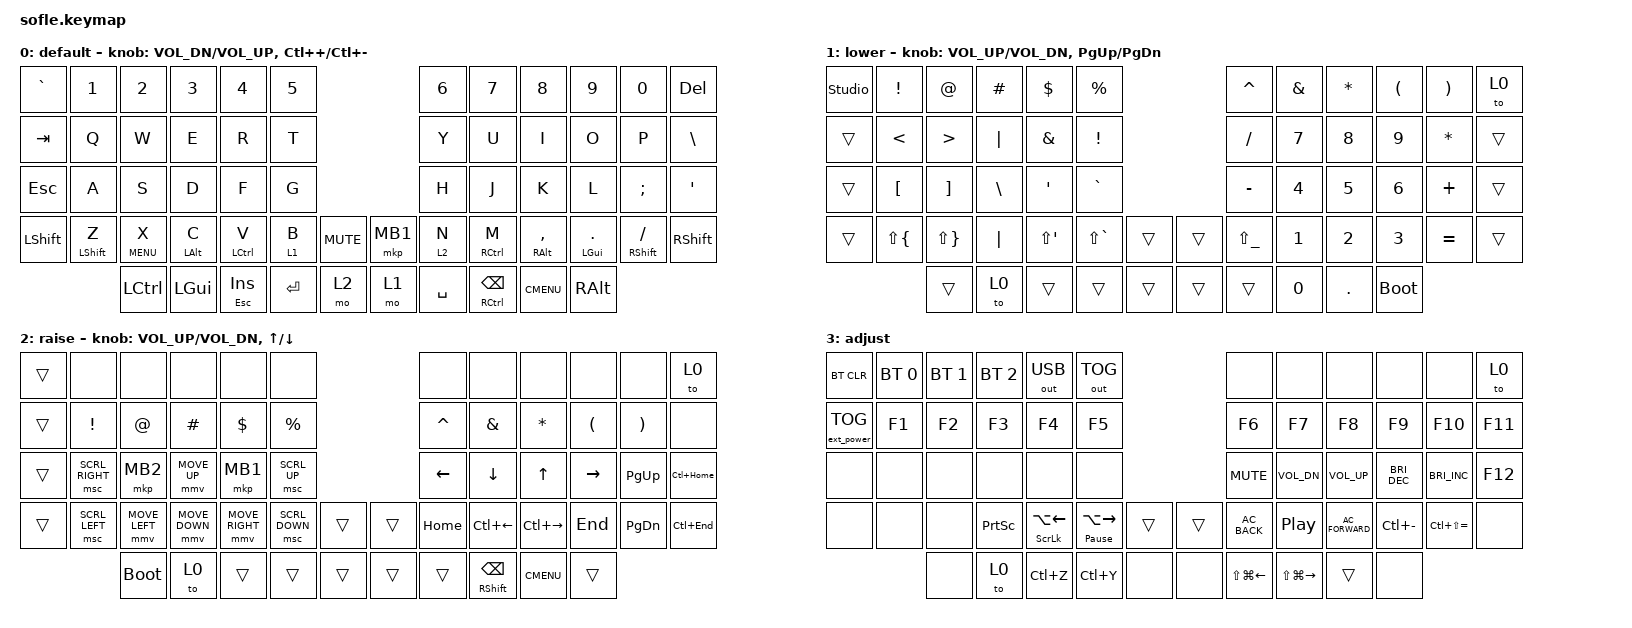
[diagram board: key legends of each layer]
/*
 * Copyright (c) 2020 The ZMK Contributors
 *
 * SPDX-License-Identifier: MIT
 */

#include <behaviors.dtsi>
#include <dt-bindings/zmk/bt.h>
#include <dt-bindings/zmk/ext_power.h>
#include <dt-bindings/zmk/keys.h>
#include <dt-bindings/zmk/outputs.h>
#include <dt-bindings/zmk/pointing.h>

#define BASE 0
#define LOWER 1
#define RAISE 2
#define ADJUST 3

/ {
    behaviors {
        ht: mod_tap {
            compatible = "zmk,behavior-hold-tap";
            #binding-cells = <2>;
            flavor = "balanced";
            tapping-term-ms = <280>;
            bindings = <&kp>, <&kp>;

            display-name = "home-row-mods";
        };
    };
};

/ {
    // Activate ADJUST layer by pressing raise and lower

    conditional_layers {
        compatible = "zmk,conditional-layers";

        adjust_layer {
            if-layers = <LOWER RAISE>;
            then-layer = <ADJUST>;
        };
    };

    combos {
        compatible = "zmk,combos";

        capslock {
            bindings = <&kp CAPSLOCK>;
            key-positions = <36 49>;
        };

        leftparens {
            bindings = <&kp LEFT_PARENTHESIS>;
            key-positions = <15 16>;
        };

        rightparens {
            bindings = <&kp RIGHT_PARENTHESIS>;
            key-positions = <20 19>;
        };

        lessthan {
            bindings = <&kp LT>;
            key-positions = <3 4>;
        };

        greaterthan {
            bindings = <&kp GREATER_THAN>;
            key-positions = <7 8>;
        };

        leftbracket {
            bindings = <&kp LEFT_BRACKET>;
            key-positions = <28 27>;
        };

        rightbracket {
            bindings = <&kp RIGHT_BRACKET>;
            key-positions = <31 32>;
        };

        leftbrace {
            bindings = <&kp LEFT_BRACE>;
            key-positions = <39 40>;
        };

        rightbrace {
            bindings = <&kp RIGHT_BRACE>;
            key-positions = <45 46>;
        };

        rassign {
            bindings = <&rassign>;
            key-positions = <29 30>;
        };

        rpipe {
            bindings = <&R_pipe>;
            key-positions = <41 44>;
        };

        asterisk {
            bindings = <&kp HASH>;
            key-positions = <17 18>;
        };

        equalcombo {
            bindings = <&kp EQUAL>;
            key-positions = <5 6>;
        };

        vsccommand {
            bindings = <&kp LC(LS(P))>;
            key-positions = <22 20 21>;
        };

        vscopenfile {
            bindings = <&kp LC(P)>;
            key-positions = <21 22>;
        };
    };

    macros {
        rassign: rassign {
            compatible = "zmk,behavior-macro";
            #binding-cells = <0>;
            bindings = <&kp LT &kp MINUS>;
            label = "RASSIGN";
        };

        R_pipe: R_pipe {
            compatible = "zmk,behavior-macro";
            #binding-cells = <0>;
            bindings = <&kp PIPE &kp GT>;
            label = "R_PIPE";
        };
    };

    keymap {
        compatible = "zmk,keymap";

        default_layer {
            label = "default";

            // ------------------------------------------------------------------------------------------------------------
            // |   `   |  1  |  2  |  3   |  4   |  5   |                   |  6   |  7    |  8    |  9   |   0   |       |
            // |  ESC  |  Q  |  W  |  E   |  R   |  T   |                   |  Y   |  U    |  I    |  O   |   P   | BKSPC |
            // |  TAB  |  A  |  S  |  D   |  F   |  G   |                   |  H   |  J    |  K    |  L   |   ;   |   '   |
            // | SHIFT |  Z  |  X  |  C   |  V   |  B   |  MUTE  |  |       |  N   |  M    |  ,    |  .   |   /   | SHIFT |
            //               | GUI | ALT  | CTRL | LOWER|  ENTER |  | SPACE | RAISE| CTRL  | ALT   | GUI  |

            bindings = <
&kp GRAVE  &kp N1            &kp N2            &kp N3          &kp N4              &kp N5                             &kp N6     &kp N7                       &kp N8               &kp N9               &kp N0                 &kp DEL
&kp TAB    &kp Q             &kp W             &kp E           &kp R               &kp T                              &kp Y      &kp U                        &kp I                &kp O                &kp P                  &kp BACKSLASH
&kp ESC    &kp A             &kp S             &kp D           &kp F               &kp G                              &kp H      &kp J                        &kp K                &kp L                &kp SEMICOLON          &kp SQT
&kp LSHFT  &ht LEFT_SHIFT Z  &ht C_MENU X      &ht LEFT_ALT C  &ht LEFT_CONTROL V  &lt 1 B    &kp C_MUTE    &mkp MB1  &lt 2 N    &ht RIGHT_CONTROL M          &ht RIGHT_ALT COMMA  &ht LEFT_GUI PERIOD  &ht RIGHT_SHIFT SLASH  &kp RSHFT
                             &kp LEFT_CONTROL  &kp LEFT_GUI    &mt ESCAPE INS      &kp ENTER  &mo 2         &mo 1     &kp SPACE  &mt RIGHT_CONTROL BACKSPACE  &kp K_CMENU          &kp RIGHT_ALT
            >;

            sensor-bindings =
                <&inc_dec_kp C_VOL_DN C_VOL_UP>,
                <&inc_dec_kp LC(PLUS) LC(MINUS)>;
        };

        lower_layer {
            label = "lower";

            // TODO: Some binds are waiting for shifted keycode support.
            // ------------------------------------------------------------------------------------------------------------
            // |       |  F1 |  F2 |  F3  |  F4  |  F5  |                   |  F6  |  F7   |  F8   |  F9  |  F10  |  F11  |
            // |   `   |  1  |  2  |  3   |  4   |  5   |                   |  6   |  7    |  8    |  9   |   0   |  F12  |
            // |       |  !  |  @  |  #   |  $   |  %   |                   |  ^   |  &    |  *    |  (   |   )   |   |   |
            // |       |  =  |  -  |  +   |  {   |  }   |        |  |       |  [   |  ]    |  ;    |  :   |   \   |       |
            //               |     |      |      |      |        |  |       |      |       |       |      |

            bindings = <
&studio_unlock  &kp EXCL            &kp AT               &kp HASH       &kp DOLLAR            &kp PERCENT                      &kp CARET           &kp AMPERSAND  &kp STAR      &kp LEFT_PARENTHESIS  &kp RIGHT_PARENTHESIS  &to 0
&trans          &kp LESS_THAN       &kp GREATER_THAN     &kp PIPE       &kp AMPS              &kp EXCL                         &kp SLASH           &kp N7         &kp N8        &kp N9                &kp ASTERISK           &trans
&trans          &kp LEFT_BRACKET    &kp RIGHT_BRACKET    &kp BACKSLASH  &kp SQT               &kp GRAVE                        &kp MINUS           &kp NUMBER_4   &kp NUMBER_5  &kp NUMBER_6          &kp PLUS               &trans
&trans          &kp LS(LEFT_BRACE)  &kp LS(RIGHT_BRACE)  &kp PIPE       &kp LS(SINGLE_QUOTE)  &kp LS(GRAVE)  &trans    &trans  &kp LS(UNDERSCORE)  &kp NUMBER_1   &kp NUMBER_2  &kp NUMBER_3          &kp EQUAL              &trans
                                    &trans               &to 0          &trans                &trans         &trans    &trans  &trans              &kp N0         &kp PERIOD    &bootloader
            >;

            sensor-bindings = <&inc_dec_kp C_VOL_UP C_VOL_DN &inc_dec_kp PG_UP PG_DN>;
        };

        raise_layer {
            label = "raise";

            // ------------------------------------------------------------------------------------------------------------
            // | BTCLR | BT1  | BT2  |  BT3  |  BT4  |  BT5 |                |      |      |       |      |       |       |
            // |       | INS  | PSCR | GUI   |       |      |                | PGUP |      |   ^   |      |       |       |
            // |       | ALT  | CTRL | SHIFT |       | CAPS |                | PGDN |   <- |   v   |  ->  |  DEL  | BKSPC |
            // |       | UNDO | CUT  | COPY  | PASTE |      |      |  |      |      |      |       |      |       |       |
            //                |      |       |       |      |      |  |      |      |      |       |      |

            bindings = <
&trans  &none            &none           &none           &none            &none                             &none      &none                      &none          &none                 &none                  &to 0
&trans  &kp EXCLAMATION  &kp AT          &kp HASH        &kp DOLLAR       &kp PERCENT                       &kp CARET  &kp AMPERSAND              &kp ASTERISK   &kp LEFT_PARENTHESIS  &kp RIGHT_PARENTHESIS  &none
&trans  &msc SCRL_RIGHT  &mkp MB2        &mmv MOVE_UP    &mkp MB1         &msc SCRL_UP                      &kp LEFT   &kp DOWN                   &kp UP         &kp RIGHT             &kp PG_UP              &kp LC(HOME)
&trans  &msc SCRL_LEFT   &mmv MOVE_LEFT  &mmv MOVE_DOWN  &mmv MOVE_RIGHT  &msc SCRL_DOWN  &trans    &trans  &kp HOME   &kp LC(LEFT)               &kp LC(RIGHT)  &kp END               &kp PG_DN              &kp LC(END)
                         &bootloader     &to 0           &trans           &trans          &trans    &trans  &trans     &mt RIGHT_SHIFT BACKSPACE  &kp K_CMENU    &trans
            >;

            sensor-bindings =
                <&inc_dec_kp C_VOL_UP C_VOL_DN>,
                <&inc_dec_kp UP DOWN>;
        };

        adjust_layer {
            // ----------------------------------------------------------------------------------------------------------------------------
            // | BTCLR  |  BT1    |  BT2    |   BT3   |   BT4   |   BT5   |                  |      |      |       |      |       |       |
            // | EXTPWR | RGB_HUD | RGB_HUI | RGB_SAD | RGB_SAI | RGB_EFF |                  |      |      |       |      |       |       |
            // |        | RGB_BRD | RGB_BRI |         |         |         |                  |      |      |       |      |       |       |
            // |        |         |         |         |         |         | RGB_TOG | |      |      |      |       |      |       |       |
            //                    |         |         |         |         |         | |      |      |      |       |      |

            label = "adjust";
            bindings = <
&bt BT_CLR         &bt BT_SEL 0  &bt BT_SEL 1  &bt BT_SEL 2     &out OUT_USB                   &out OUT_TOG                                       &none             &none              &none             &none          &none              &to 0
&ext_power EP_TOG  &kp F1        &kp F2        &kp F3           &kp F4                         &kp F5                                             &kp F6            &kp F7             &kp F8            &kp F9         &kp F10            &kp F11
&none              &none         &none         &none            &none                          &none                                              &kp C_MUTE        &kp C_VOL_DN       &kp C_VOL_UP      &kp C_BRI_DEC  &kp C_BRI_INC      &kp F12
&none              &none         &none         &kp PRINTSCREEN  &mt SCROLLLOCK LA(LEFT_ARROW)  &mt PAUSE_BREAK LA(RIGHT_ARROW)  &trans    &trans  &kp C_AC_BACK     &kp C_PLAY_PAUSE   &kp C_AC_FORWARD  &kp LC(MINUS)  &kp LC(LS(EQUAL))  &none
                                 &none         &to 0            &kp LC(Z)                      &kp LC(Y)                        &none     &none   &kp LS(LG(LEFT))  &kp LS(LG(RIGHT))  &trans            &none
            >;
        };
    };
};
